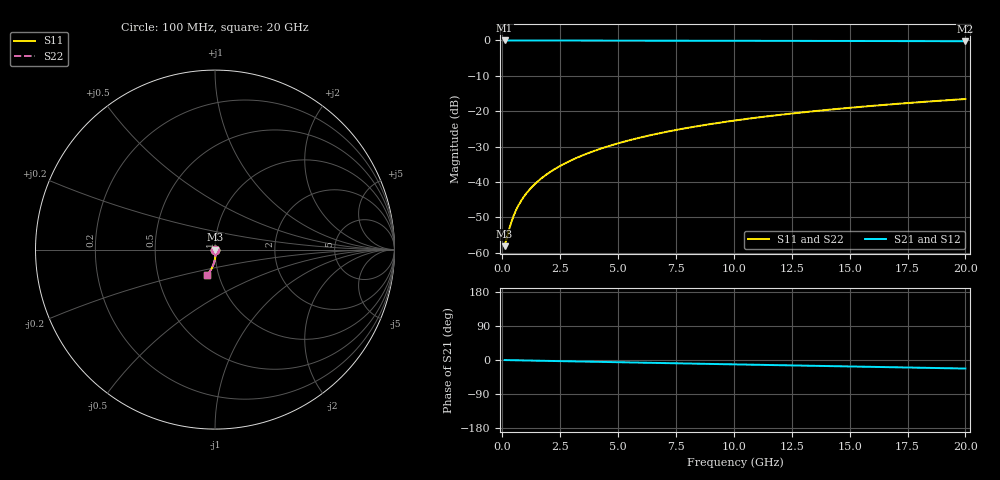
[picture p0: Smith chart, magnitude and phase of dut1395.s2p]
! Touchstone file exported from HFSS 2026.1.0
!  File:  C:/ffzhzh/LocalFiles/Ansys_Project_Files/temp_train_BSMRDL_1395_1783179790_43440.aedt
!  Generated:  11:44:16 PM Jul  4, 2026
!  Design:  BSMRDL
!  Project:  temp_train_BSMRDL_1395_1783179790_43440
! Variables:
!  h_bsmrdl = 4.74um
!  h_ox = 20um
!  h_rdl = 5um
!  h_sub = 80um
!  h_tmrdl = 5um
!  h_tsv = 80um
!  h_via = 3um
!  l_bsmrdl = 363.98um
!  l_sub = 763.98um
!  l_tmrdl = 200um
!  m_sub = 200um
!  pitch = 31.75um
!  r_tsv = 6um
!  s_tmrdl = 10um
!  w_bsmrdl = 29.78um
!  w_sub = 500um
!  w_tmrdl = 12um
!  x_tsv_center1 = 206um
!  x_tsv_center2 = 599.76um
!  x_tsv_center3 = 811.76um
!  x_tsv_center4 = 1205.52um
!  x_tsv_center5 = 1417.52um
!  x_tsv_center6 = 1811.28um
# GHz S MA R 50.000000
! Terminal data exported
! Port[1] = BSM_RDL1_1_T1
! Port[2] = BSM_RDL1_1_T2
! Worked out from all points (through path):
!   200 points, 100 MHz to 20 GHz, reference 50 ohm
!   highest |S21| = -0.01 dB at 100 MHz (marker M1); lowest = -0.2 dB at 20 GHz (marker M2)
!   group delay of S21, straight-line fit = 3.12 ps
!   lowest |S11| = -58.1 dB at 100 MHz (marker M3), VSWR 1.00, Z = 50.1 - j0.0217 ohm
!   |S11| at or under -10 dB: start of sweep to end of sweep
!   |S22| runs from -58.1 to -16.5 dB; largest |S21 - S12| = 6.1e-15
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0.1  0.001244 -10.0  0.9988 -0.1  0.9988 -0.1  0.001244 -10.0
! Gamma 0 0 0 0
! Port Impedance 50 0 50 0
0.3  0.002185 -33.8  0.9982 -0.4  0.9982 -0.4  0.002185 -33.8
0.4  0.00278 -43.0  0.9979 -0.5  0.9979 -0.5  0.00278 -43.0
0.5  0.003403 -50.0  0.9978 -0.6  0.9978 -0.6  0.003403 -50.0
0.6  0.004041 -55.4  0.9977 -0.8  0.9977 -0.8  0.004041 -55.4
0.8  0.005341 -62.9  0.9975 -1.0  0.9975 -1.0  0.005341 -62.9
1.1  0.007323 -69.5  0.9973 -1.3  0.9973 -1.3  0.007323 -69.5
1.3  0.008658 -72.4  0.9971 -1.6  0.9971 -1.6  0.008658 -72.4
1.5  0.01001 -74.5  0.997 -1.8  0.997 -1.8  0.01 -74.5
1.8  0.01205 -76.9  0.9967 -2.2  0.9967 -2.2  0.01205 -76.9
2.1  0.01411 -78.6  0.9965 -2.5  0.9965 -2.5  0.01411 -78.6
2.7  0.01832 -81.0  0.9959 -3.2  0.9959 -3.2  0.01832 -81.0
3.5  0.02407 -83.2  0.9951 -4.2  0.9951 -4.2  0.02407 -83.2
4.2  0.02923 -84.7  0.9944 -5.0  0.9944 -5.0  0.02923 -84.7
5  0.03523 -86.2  0.9935 -5.9  0.9935 -5.9  0.03523 -86.2
5.9  0.04207 -87.8  0.9925 -6.9  0.9925 -6.9  0.04207 -87.8
6.8  0.04898 -89.3  0.9914 -7.9  0.9914 -7.9  0.04898 -89.3
8.3  0.06055 -91.7  0.9898 -9.6  0.9898 -9.6  0.06055 -91.7
10.1  0.07444 -94.3  0.9877 -11.6  0.9877 -11.6  0.07444 -94.3
13.4  0.09972 -98.9  0.9837 -15.3  0.9837 -15.3  0.09971 -98.9
16.7  0.1246 -103.1  0.9792 -18.9  0.9792 -18.9  0.1245 -103.1
20  0.1488 -107.2  0.9743 -22.6  0.9743 -22.6  0.1488 -107.2
